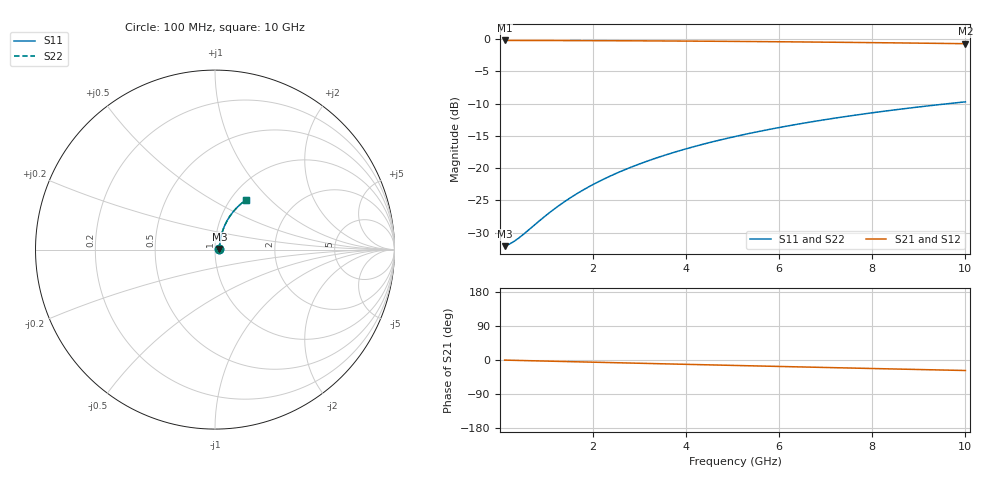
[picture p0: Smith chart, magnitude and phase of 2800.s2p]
# Hz S RI R 50.00
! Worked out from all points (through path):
!   100 points, 100 MHz to 10 GHz, reference 50 ohm
!   highest |S21| = -0.22 dB at 100 MHz (marker M1); lowest = -0.7 dB at 10 GHz (marker M2)
!   group delay of S21, straight-line fit = 7.72 ps
!   lowest |S11| = -32.1 dB at 100 MHz (marker M3), VSWR 1.05, Z = 52.5 + j0.357 ohm
!   |S11| at or under -10 dB: start of sweep to 9.649 GHz
!   |S22| runs from -32.1 to -9.7 dB; largest |S21 - S12| = 0
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1e8  0.0246 0.00339  0.9754 -0.0049  0.9754 -0.0049  0.0246 0.00339
2e8  0.0248 0.00678  0.9752 -0.0098  0.9752 -0.0098  0.0248 0.00678
3e8  0.025 0.0102  0.975 -0.0147  0.975 -0.0147  0.025 0.0102
4e8  0.0252 0.0136  0.9748 -0.0196  0.9748 -0.0196  0.0252 0.0136
9e8  0.0266 0.0304  0.9733 -0.044  0.9733 -0.044  0.0266 0.0304
1.2e9  0.0278 0.0405  0.972 -0.0586  0.972 -0.0586  0.0278 0.0405
1.5e9  0.0293 0.0505  0.9704 -0.0731  0.9704 -0.0731  0.0293 0.0505
1.8e9  0.0311 0.0605  0.9685 -0.0876  0.9685 -0.0876  0.0311 0.0605
2.1e9  0.0332 0.0704  0.9663 -0.1021  0.9663 -0.1021  0.0332 0.0704
2.5e9  0.0363 0.0835  0.9629 -0.1212  0.9629 -0.1212  0.0363 0.0835
2.9e9  0.04 0.0964  0.959 -0.1401  0.959 -0.1401  0.04 0.0964
3.4e9  0.0453 0.1122  0.9533 -0.1635  0.9533 -0.1635  0.0453 0.1122
3.8e9  0.0501 0.1247  0.9482 -0.182  0.9482 -0.182  0.0501 0.1247
4.2e9  0.0554 0.1368  0.9425 -0.2002  0.9425 -0.2002  0.0554 0.1368
4.6e9  0.0611 0.1488  0.9364 -0.2182  0.9364 -0.2182  0.0611 0.1488
5.1e9  0.0688 0.1633  0.9281 -0.2403  0.9281 -0.2403  0.0688 0.1633
5.9e9  0.0825 0.1855  0.9134 -0.2747  0.9134 -0.2747  0.0825 0.1855
6.7e9  0.0978 0.2064  0.897 -0.3077  0.897 -0.3077  0.0978 0.2064
7.5e9  0.1143 0.2258  0.879 -0.3393  0.879 -0.3393  0.1143 0.2258
8.4e9  0.1344 0.2458  0.8573 -0.3731  0.8573 -0.3731  0.1344 0.2458
9.2e9  0.1533 0.2619  0.8367 -0.4014  0.8367 -0.4014  0.1533 0.2619
1e10  0.1731 0.2763  0.8151 -0.4282  0.8151 -0.4282  0.1731 0.2763
